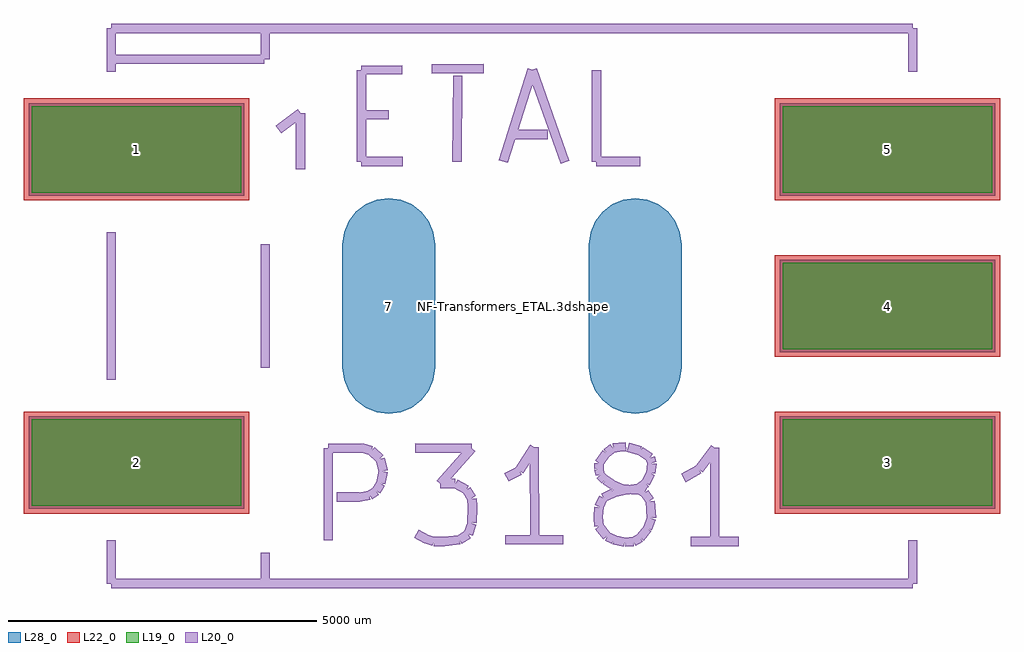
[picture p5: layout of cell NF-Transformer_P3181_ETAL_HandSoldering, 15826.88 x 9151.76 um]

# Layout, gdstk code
import gdstk
lib = gdstk.Library(unit=1e-6, precision=1e-09)
def R(c, l, rs):  # rectangles x0, y0, x1, y1
    for r in rs: c.add(gdstk.rectangle(r[:2], r[2:], *l))
def A(c, l, x, y, w, h, nx, ny, dx, dy):  # array of equal rectangles
    R(c, l, [(x+i*dx, y+j*dy, x+i*dx+w, y+j*dy+h) for i in range(nx) for j in range(ny)])
def P(c, l, *ps):  # polygons
    for p in ps: c.add(gdstk.Polygon(p, *l))
L19_0 = (19, 0)
L20_0 = (20, 0)
L22_0 = (22, 0)
L28_0 = (28, 0)

nf_transformer_p3181_eta = lib.new_cell('NF-Transformer_P3181_ETAL_HandSoldering')
A(nf_transformer_p3181_eta, L19_0, 4388.32, -3240.57, 3400.12, 1401.14, 1, 3, 0, 2540)
R(nf_transformer_p3181_eta, L19_0, [(-7788.44,-3240.57,-4388.32,-1839.43), (-7788.44,1839.43,-4388.32,3240.57)])
A(nf_transformer_p3181_eta, L22_0, 4263.32, -3365.57, 3650.12, 1651.14, 1, 3, 0, 2540)
R(nf_transformer_p3181_eta, L22_0, [(-7913.44,-3365.57,-4263.32,-1714.43), (-7913.44,1714.43,-4263.32,3365.57)])
A(nf_transformer_p3181_eta, L28_0, 4338.32, -3290.57, 3500.12, 1501.14, 1, 3, 0, 2540)
R(nf_transformer_p3181_eta, L28_0, [(-7838.44,-3290.57,-4338.32,-1789.43), (-7838.44,1789.43,-4338.32,3290.57)])
P(nf_transformer_p3181_eta, L28_0, [(1998.98,-1750.06),(2193.242,-1724.485),(2374.265,-1649.503),(2529.713,-1530.223),(2648.993,-1374.775),(2723.975,-1193.752),(2749.55,-999.49),(2749.55,999.49),(2723.975,1193.752),(2648.993,1374.775),(2529.713,1530.223),(2374.265,1649.503),(2193.242,1724.485),(1998.98,1750.06),(1804.718,1724.485),(1623.695,1649.503),(1468.247,1530.223),(1348.967,1374.775),(1273.985,1193.752),(1248.41,999.49),(1248.41,-999.49),(1273.985,-1193.752),(1348.967,-1374.775),(1468.247,-1530.223),(1623.695,-1649.503),(1804.718,-1724.485)],
  [(-1998.98,-1750.06),(-1804.718,-1724.485),(-1623.695,-1649.503),(-1468.247,-1530.223),(-1348.967,-1374.775),(-1273.985,-1193.752),(-1248.41,-999.49),(-1248.41,999.49),(-1273.985,1193.752),(-1348.967,1374.775),(-1468.247,1530.223),(-1623.695,1649.503),(-1804.718,1724.485),(-1998.98,1750.06),(-2193.242,1724.485),(-2374.265,1649.503),(-2529.713,1530.223),(-2648.993,1374.775),(-2723.975,1193.752),(-2749.55,999.49),(-2749.55,-999.49),(-2723.975,-1193.752),(-2648.993,-1374.775),(-2529.713,-1530.223),(-2374.265,-1649.503),(-2193.242,-1724.485)])
nf_transformer_p3181_eta.add(gdstk.FlexPath([(-6499.86,-4500.88),(6499.86,-4500.88)], 149.998, ends="flush", simple_path=True, layer=20, datatype=0))  # L20_0
nf_transformer_p3181_eta.add(gdstk.FlexPath([(6499.86,4500.88),(-6499.86,4500.88)], 149.998, ends="flush", simple_path=True, layer=20, datatype=0))  # L20_0
nf_transformer_p3181_eta.add(gdstk.FlexPath([(6499.86,4500.88),(6499.86,3799.84)], 149.998, ends="flush", simple_path=True, layer=20, datatype=0))  # L20_0
nf_transformer_p3181_eta.add(gdstk.FlexPath([(6499.86,-3799.84),(6499.86,-4500.88)], 149.998, ends="flush", simple_path=True, layer=20, datatype=0))  # L20_0
nf_transformer_p3181_eta.add(gdstk.FlexPath([(-6499.86,-3799.84),(-6499.86,-4500.88)], 149.998, ends="flush", simple_path=True, layer=20, datatype=0))  # L20_0
nf_transformer_p3181_eta.add(gdstk.FlexPath([(-6499.86,4500.88),(-6499.86,3799.84)], 149.998, ends="flush", simple_path=True, layer=20, datatype=0))  # L20_0
nf_transformer_p3181_eta.add(gdstk.FlexPath([(-6499.86,1198.88),(-6499.86,-1198.88)], 149.998, ends="flush", simple_path=True, layer=20, datatype=0))  # L20_0
nf_transformer_p3181_eta.add(gdstk.FlexPath([(-2440.94,2341.88),(-1770.38,2341.88)], 149.998, ends="flush", simple_path=True, layer=20, datatype=0))  # L20_0
nf_transformer_p3181_eta.add(gdstk.FlexPath([(-2440.94,3822.7),(-2440.94,2341.88)], 149.998, ends="flush", simple_path=True, layer=20, datatype=0))  # L20_0
nf_transformer_p3181_eta.add(gdstk.FlexPath([(-1780.54,3832.86),(-2440.94,3822.7)], 149.998, ends="flush", simple_path=True, layer=20, datatype=0))  # L20_0
nf_transformer_p3181_eta.add(gdstk.FlexPath([(-2410.46,3101.34),(-2001.52,3101.34)], 149.998, ends="flush", simple_path=True, layer=20, datatype=0))  # L20_0
nf_transformer_p3181_eta.add(gdstk.FlexPath([(-1300.48,3843.02),(-459.74,3853.18)], 149.998, ends="flush", simple_path=True, layer=20, datatype=0))  # L20_0
nf_transformer_p3181_eta.add(gdstk.FlexPath([(-891.54,2341.88),(-881.38,3731.26)], 149.998, ends="flush", simple_path=True, layer=20, datatype=0))  # L20_0
nf_transformer_p3181_eta.add(gdstk.FlexPath([(330.2,3832.86),(858.52,2331.72)], 149.998, ends="flush", simple_path=True, layer=20, datatype=0))  # L20_0
nf_transformer_p3181_eta.add(gdstk.FlexPath([(-139.7,2341.88),(330.2,3832.86)], 149.998, ends="flush", simple_path=True, layer=20, datatype=0))  # L20_0
nf_transformer_p3181_eta.add(gdstk.FlexPath([(38.1,2781.3),(579.12,2781.3)], 149.998, ends="flush", simple_path=True, layer=20, datatype=0))  # L20_0
nf_transformer_p3181_eta.add(gdstk.FlexPath([(1369.06,2341.88),(2080.26,2341.88)], 149.998, ends="flush", simple_path=True, layer=20, datatype=0))  # L20_0
nf_transformer_p3181_eta.add(gdstk.FlexPath([(1369.06,3822.7),(1369.06,2341.88)], 149.998, ends="flush", simple_path=True, layer=20, datatype=0))  # L20_0
nf_transformer_p3181_eta.add(gdstk.FlexPath([(-2479.04,-3098.8),(-2839.72,-3098.8)], 149.998, ends="flush", simple_path=True, layer=20, datatype=0))  # L20_0
nf_transformer_p3181_eta.add(gdstk.FlexPath([(-2308.86,-3070.86),(-2479.04,-3098.8)], 149.998, ends="flush", simple_path=True, layer=20, datatype=0))  # L20_0
nf_transformer_p3181_eta.add(gdstk.FlexPath([(-2199.64,-2999.74),(-2308.86,-3070.86)], 149.998, ends="flush", simple_path=True, layer=20, datatype=0))  # L20_0
nf_transformer_p3181_eta.add(gdstk.FlexPath([(-2128.52,-2880.36),(-2199.64,-2999.74)], 149.998, ends="flush", simple_path=True, layer=20, datatype=0))  # L20_0
nf_transformer_p3181_eta.add(gdstk.FlexPath([(-2090.42,-2679.7),(-2128.52,-2880.36)], 149.998, ends="flush", simple_path=True, layer=20, datatype=0))  # L20_0
nf_transformer_p3181_eta.add(gdstk.FlexPath([(-2138.68,-2479.04),(-2090.42,-2679.7)], 149.998, ends="flush", simple_path=True, layer=20, datatype=0))  # L20_0
nf_transformer_p3181_eta.add(gdstk.FlexPath([(-2278.38,-2349.5),(-2138.68,-2479.04)], 149.998, ends="flush", simple_path=True, layer=20, datatype=0))  # L20_0
nf_transformer_p3181_eta.add(gdstk.FlexPath([(-2438.4,-2301.24),(-2278.38,-2349.5)], 149.998, ends="flush", simple_path=True, layer=20, datatype=0))  # L20_0
nf_transformer_p3181_eta.add(gdstk.FlexPath([(-2979.42,-2308.86),(-2438.4,-2301.24)], 149.998, ends="flush", simple_path=True, layer=20, datatype=0))  # L20_0
nf_transformer_p3181_eta.add(gdstk.FlexPath([(-2979.42,-3799.84),(-2979.42,-2308.86)], 149.998, ends="flush", simple_path=True, layer=20, datatype=0))  # L20_0
nf_transformer_p3181_eta.add(gdstk.FlexPath([(-1389.38,-3779.52),(-1549.4,-3690.62)], 149.998, ends="flush", simple_path=True, layer=20, datatype=0))  # L20_0
nf_transformer_p3181_eta.add(gdstk.FlexPath([(-1270,-3820.16),(-1389.38,-3779.52)], 149.998, ends="flush", simple_path=True, layer=20, datatype=0))  # L20_0
nf_transformer_p3181_eta.add(gdstk.FlexPath([(-1099.82,-3820.16),(-1270,-3820.16)], 149.998, ends="flush", simple_path=True, layer=20, datatype=0))  # L20_0
nf_transformer_p3181_eta.add(gdstk.FlexPath([(-850.9,-3789.68),(-1099.82,-3820.16)], 149.998, ends="flush", simple_path=True, layer=20, datatype=0))  # L20_0
nf_transformer_p3181_eta.add(gdstk.FlexPath([(-708.66,-3700.78),(-850.9,-3789.68)], 149.998, ends="flush", simple_path=True, layer=20, datatype=0))  # L20_0
nf_transformer_p3181_eta.add(gdstk.FlexPath([(-650.24,-3520.44),(-708.66,-3700.78)], 149.998, ends="flush", simple_path=True, layer=20, datatype=0))  # L20_0
nf_transformer_p3181_eta.add(gdstk.FlexPath([(-640.08,-3258.82),(-650.24,-3520.44)], 149.998, ends="flush", simple_path=True, layer=20, datatype=0))  # L20_0
nf_transformer_p3181_eta.add(gdstk.FlexPath([(-650.24,-3119.12),(-640.08,-3258.82)], 149.998, ends="flush", simple_path=True, layer=20, datatype=0))  # L20_0
nf_transformer_p3181_eta.add(gdstk.FlexPath([(-739.14,-2979.42),(-650.24,-3119.12)], 149.998, ends="flush", simple_path=True, layer=20, datatype=0))  # L20_0
nf_transformer_p3181_eta.add(gdstk.FlexPath([(-919.48,-2880.36),(-739.14,-2979.42)], 149.998, ends="flush", simple_path=True, layer=20, datatype=0))  # L20_0
nf_transformer_p3181_eta.add(gdstk.FlexPath([(-1160.78,-2880.36),(-919.48,-2880.36)], 149.998, ends="flush", simple_path=True, layer=20, datatype=0))  # L20_0
nf_transformer_p3181_eta.add(gdstk.FlexPath([(-650.24,-2308.86),(-1160.78,-2880.36)], 149.998, ends="flush", simple_path=True, layer=20, datatype=0))  # L20_0
nf_transformer_p3181_eta.add(gdstk.FlexPath([(-1569.72,-2301.24),(-650.24,-2308.86)], 149.998, ends="flush", simple_path=True, layer=20, datatype=0))  # L20_0
nf_transformer_p3181_eta.add(gdstk.FlexPath([(360.68,-2291.08),(370.84,-3789.68)], 149.998, ends="flush", simple_path=True, layer=20, datatype=0))  # L20_0
nf_transformer_p3181_eta.add(gdstk.FlexPath([(119.38,-2669.54),(360.68,-2291.08)], 149.998, ends="flush", simple_path=True, layer=20, datatype=0))  # L20_0
nf_transformer_p3181_eta.add(gdstk.FlexPath([(-88.9,-2778.76),(119.38,-2669.54)], 149.998, ends="flush", simple_path=True, layer=20, datatype=0))  # L20_0
nf_transformer_p3181_eta.add(gdstk.FlexPath([(-109.22,-3789.68),(830.58,-3789.68)], 149.998, ends="flush", simple_path=True, layer=20, datatype=0))  # L20_0
nf_transformer_p3181_eta.add(gdstk.FlexPath([(2080.26,-2349.5),(1879.6,-2291.08)], 149.998, ends="flush", simple_path=True, layer=20, datatype=0))  # L20_0
nf_transformer_p3181_eta.add(gdstk.FlexPath([(2240.28,-2458.72),(2080.26,-2349.5)], 149.998, ends="flush", simple_path=True, layer=20, datatype=0))  # L20_0
nf_transformer_p3181_eta.add(gdstk.FlexPath([(2270.76,-2550.16),(2240.28,-2458.72)], 149.998, ends="flush", simple_path=True, layer=20, datatype=0))  # L20_0
nf_transformer_p3181_eta.add(gdstk.FlexPath([(2250.44,-2710.18),(2270.76,-2550.16)], 149.998, ends="flush", simple_path=True, layer=20, datatype=0))  # L20_0
nf_transformer_p3181_eta.add(gdstk.FlexPath([(2169.16,-2870.2),(2250.44,-2710.18)], 149.998, ends="flush", simple_path=True, layer=20, datatype=0))  # L20_0
nf_transformer_p3181_eta.add(gdstk.FlexPath([(2049.78,-2959.1),(2169.16,-2870.2)], 149.998, ends="flush", simple_path=True, layer=20, datatype=0))  # L20_0
nf_transformer_p3181_eta.add(gdstk.FlexPath([(1821.18,-2989.58),(2049.78,-2959.1)], 149.998, ends="flush", simple_path=True, layer=20, datatype=0))  # L20_0
nf_transformer_p3181_eta.add(gdstk.FlexPath([(1640.84,-3030.22),(1821.18,-2989.58)], 149.998, ends="flush", simple_path=True, layer=20, datatype=0))  # L20_0
nf_transformer_p3181_eta.add(gdstk.FlexPath([(1480.82,-3108.96),(1640.84,-3030.22)], 149.998, ends="flush", simple_path=True, layer=20, datatype=0))  # L20_0
nf_transformer_p3181_eta.add(gdstk.FlexPath([(1409.7,-3258.82),(1480.82,-3108.96)], 149.998, ends="flush", simple_path=True, layer=20, datatype=0))  # L20_0
nf_transformer_p3181_eta.add(gdstk.FlexPath([(1399.54,-3418.84),(1409.7,-3258.82)], 149.998, ends="flush", simple_path=True, layer=20, datatype=0))  # L20_0
nf_transformer_p3181_eta.add(gdstk.FlexPath([(1409.7,-3571.24),(1399.54,-3418.84)], 149.998, ends="flush", simple_path=True, layer=20, datatype=0))  # L20_0
nf_transformer_p3181_eta.add(gdstk.FlexPath([(1539.24,-3738.88),(1409.7,-3571.24)], 149.998, ends="flush", simple_path=True, layer=20, datatype=0))  # L20_0
nf_transformer_p3181_eta.add(gdstk.FlexPath([(1651,-3789.68),(1539.24,-3738.88)], 149.998, ends="flush", simple_path=True, layer=20, datatype=0))  # L20_0
nf_transformer_p3181_eta.add(gdstk.FlexPath([(1831.34,-3830.32),(1651,-3789.68)], 149.998, ends="flush", simple_path=True, layer=20, datatype=0))  # L20_0
nf_transformer_p3181_eta.add(gdstk.FlexPath([(1971.04,-3820.16),(1831.34,-3830.32)], 149.998, ends="flush", simple_path=True, layer=20, datatype=0))  # L20_0
nf_transformer_p3181_eta.add(gdstk.FlexPath([(2080.26,-3759.2),(1971.04,-3820.16)], 149.998, ends="flush", simple_path=True, layer=20, datatype=0))  # L20_0
nf_transformer_p3181_eta.add(gdstk.FlexPath([(2199.64,-3609.34),(2080.26,-3759.2)], 149.998, ends="flush", simple_path=True, layer=20, datatype=0))  # L20_0
nf_transformer_p3181_eta.add(gdstk.FlexPath([(2260.6,-3439.16),(2199.64,-3609.34)], 149.998, ends="flush", simple_path=True, layer=20, datatype=0))  # L20_0
nf_transformer_p3181_eta.add(gdstk.FlexPath([(2240.28,-3159.76),(2260.6,-3439.16)], 149.998, ends="flush", simple_path=True, layer=20, datatype=0))  # L20_0
nf_transformer_p3181_eta.add(gdstk.FlexPath([(2151.38,-3030.22),(2240.28,-3159.76)], 149.998, ends="flush", simple_path=True, layer=20, datatype=0))  # L20_0
nf_transformer_p3181_eta.add(gdstk.FlexPath([(2080.26,-2989.58),(2151.38,-3030.22)], 149.998, ends="flush", simple_path=True, layer=20, datatype=0))  # L20_0
nf_transformer_p3181_eta.add(gdstk.FlexPath([(1790.7,-2969.26),(2080.26,-2989.58)], 149.998, ends="flush", simple_path=True, layer=20, datatype=0))  # L20_0
nf_transformer_p3181_eta.add(gdstk.FlexPath([(1620.52,-2890.52),(1790.7,-2969.26)], 149.998, ends="flush", simple_path=True, layer=20, datatype=0))  # L20_0
nf_transformer_p3181_eta.add(gdstk.FlexPath([(1511.3,-2819.4),(1620.52,-2890.52)], 149.998, ends="flush", simple_path=True, layer=20, datatype=0))  # L20_0
nf_transformer_p3181_eta.add(gdstk.FlexPath([(1430.02,-2740.66),(1511.3,-2819.4)], 149.998, ends="flush", simple_path=True, layer=20, datatype=0))  # L20_0
nf_transformer_p3181_eta.add(gdstk.FlexPath([(1409.7,-2639.06),(1430.02,-2740.66)], 149.998, ends="flush", simple_path=True, layer=20, datatype=0))  # L20_0
nf_transformer_p3181_eta.add(gdstk.FlexPath([(1409.7,-2550.16),(1409.7,-2639.06)], 149.998, ends="flush", simple_path=True, layer=20, datatype=0))  # L20_0
nf_transformer_p3181_eta.add(gdstk.FlexPath([(1531.62,-2379.98),(1409.7,-2550.16)], 149.998, ends="flush", simple_path=True, layer=20, datatype=0))  # L20_0
nf_transformer_p3181_eta.add(gdstk.FlexPath([(1640.84,-2301.24),(1531.62,-2379.98)], 149.998, ends="flush", simple_path=True, layer=20, datatype=0))  # L20_0
nf_transformer_p3181_eta.add(gdstk.FlexPath([(1739.9,-2291.08),(1640.84,-2301.24)], 149.998, ends="flush", simple_path=True, layer=20, datatype=0))  # L20_0
nf_transformer_p3181_eta.add(gdstk.FlexPath([(1849.12,-2280.92),(1739.9,-2291.08)], 149.998, ends="flush", simple_path=True, layer=20, datatype=0))  # L20_0
nf_transformer_p3181_eta.add(gdstk.FlexPath([(3289.3,-2301.24),(3289.3,-3789.68)], 149.998, ends="flush", simple_path=True, layer=20, datatype=0))  # L20_0
nf_transformer_p3181_eta.add(gdstk.FlexPath([(3030.22,-2649.22),(3289.3,-2301.24)], 149.998, ends="flush", simple_path=True, layer=20, datatype=0))  # L20_0
nf_transformer_p3181_eta.add(gdstk.FlexPath([(2781.3,-2788.92),(3030.22,-2649.22)], 149.998, ends="flush", simple_path=True, layer=20, datatype=0))  # L20_0
nf_transformer_p3181_eta.add(gdstk.FlexPath([(2900.68,-3820.16),(3680.46,-3820.16)], 149.998, ends="flush", simple_path=True, layer=20, datatype=0))  # L20_0
nf_transformer_p3181_eta.add(gdstk.FlexPath([(-4000.5,4500.88),(-4000.5,4000.5)], 149.998, ends="flush", simple_path=True, layer=20, datatype=0))  # L20_0
nf_transformer_p3181_eta.add(gdstk.FlexPath([(-4000.5,1000.76),(-4000.5,-1000.76)], 149.998, ends="flush", simple_path=True, layer=20, datatype=0))  # L20_0
nf_transformer_p3181_eta.add(gdstk.FlexPath([(-4000.5,-4500.88),(-4000.5,-4000.5)], 149.998, ends="flush", simple_path=True, layer=20, datatype=0))  # L20_0
nf_transformer_p3181_eta.add(gdstk.FlexPath([(-4020.82,4000.5),(-6421.12,4000.5)], 149.998, ends="flush", simple_path=True, layer=20, datatype=0))  # L20_0
nf_transformer_p3181_eta.add(gdstk.FlexPath([(-3429,3129.28),(-3429,2219.96)], 149.998, ends="flush", simple_path=True, layer=20, datatype=0))  # L20_0
nf_transformer_p3181_eta.add(gdstk.FlexPath([(-3789.68,2860.04),(-3429,3129.28)], 149.998, ends="flush", simple_path=True, layer=20, datatype=0))  # L20_0
nf_transformer_p3181_eta.add(gdstk.Label('NF-Transformers_ETAL.3dshapes/NF-Transformer_P3181_ETAL_HandSoldering.wrl', (0,0), layer=12, texttype=0))
nf_transformer_p3181_eta.add(gdstk.Label('5', (6088.38,2540), layer=28, texttype=0))
nf_transformer_p3181_eta.add(gdstk.Label('4', (6088.38,0), layer=28, texttype=0))
nf_transformer_p3181_eta.add(gdstk.Label('3', (6088.38,-2540), layer=28, texttype=0))
nf_transformer_p3181_eta.add(gdstk.Label('2', (-6088.38,-2540), layer=28, texttype=0))
nf_transformer_p3181_eta.add(gdstk.Label('1', (-6088.38,2540), layer=28, texttype=0))
nf_transformer_p3181_eta.add(gdstk.Label('7', (-1998.98,0), layer=28, texttype=0))
nf_transformer_p3181_eta.add(gdstk.Label('type', (0,-6499.86), layer=9, texttype=0))
nf_transformer_p3181_eta.add(gdstk.Label('devicename', (0,7000.24), layer=9, texttype=0))

lib.write_gds('NF-Transformer_P3181_ETAL_HandSoldering.gds')
